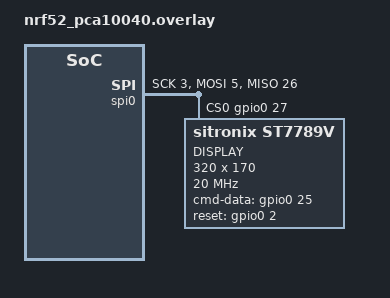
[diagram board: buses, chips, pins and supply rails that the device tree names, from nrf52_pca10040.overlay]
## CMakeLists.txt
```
# SPDX-License-Identifier: Apache-2.0

cmake_minimum_required(VERSION 3.13.1)
include($ENV{ZEPHYR_BASE}/cmake/app/boilerplate.cmake NO_POLICY_SCOPE)
project(st7789v)

target_sources(app PRIVATE src/main.c)
```

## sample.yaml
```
sample:
  description: Sample application for ST7789V display
  name: st7789v_sample
tests:
  sample.display.st7789v_tl019fqv01:
    build_only: true
    platform_whitelist: nrf52_pca10040
    extra_args: SHIELD=st7789v_tl019fqv01
    tags: display shield
  sample.display.st7789v_waveshare_240x240:
    build_only: true
    platform_whitelist: nrf52_pca10040
    extra_args: SHIELD=st7789v_waveshare_240x240
    tags: display shield
```

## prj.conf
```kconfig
CONFIG_PRINTK=y
CONFIG_HEAP_MEM_POOL_SIZE=16384
CONFIG_LOG=y
CONFIG_DISPLAY=y
CONFIG_DISPLAY_LOG_LEVEL_DBG=y
```

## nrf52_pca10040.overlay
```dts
/*
 * Copyright (c) 2019 Creative Product Design
 *
 * SPDX-License-Identifier: Apache-2.0
 */

&spi0 {
	status = "okay";
	sck-pin = <3>;
	mosi-pin = <5>;
	miso-pin = <26>;
	cs-gpios = <&gpio0 27 0>;

	st7789v@0 {
		compatible = "sitronix,st7789v";
		label = "DISPLAY";
		spi-max-frequency = <20000000>;
		reg = <0>;
		cmd-data-gpios = <&gpio0 25 0>;
		reset-gpios = <&gpio0 2 0>;
		width = <320>;
		height = <170>;
		y-offset = <35>;
	};
};
```

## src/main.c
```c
/*
 * Copyright (c) 2019 Marc Reilly
 *
 * SPDX-License-Identifier: Apache-2.0
 */
#include <logging/log.h>
LOG_MODULE_REGISTER(app, LOG_LEVEL_INF);

#include <zephyr.h>
#include <device.h>
#include <display.h>

static void backlight_init(void)
{
    /* If you have a backlight, set it up and turn it on here */
}

void main(void)
{
	LOG_INF("ST7789V display sample");
	struct device *display_dev;

	struct display_capabilities capabilities;
	struct display_buffer_descriptor buf_desc;

	backlight_init();

#ifdef CONFIG_ST7789V_RGB565
	const size_t rgb_size = 2;
#else
	const size_t rgb_size = 3;
#endif

	display_dev = device_get_binding(DT_INST_0_SITRONIX_ST7789V_LABEL);

	if (display_dev == NULL) {
		LOG_ERR("Device not found. Aborting test.");
		return;
	}

	display_get_capabilities(display_dev, &capabilities);

	/* size of the rectangle */
	const size_t w = 40;
	const size_t h = 20;
	const size_t buf_size = rgb_size * w * h;

	/* points are clockwise, from top left */
	size_t x0, y0, x1, y1, x2, y2, x3, y3;

	/* top left */
	x0 = 0;
	y0 = 0;
	/* top right */
	x1 = capabilities.x_resolution - w;
	y1 = 0;
	/* bottom right */
	x2 = capabilities.x_resolution - w;
	y2 = capabilities.y_resolution - h;
	/* bottom left */
	x3 = 0;
	y3 = capabilities.y_resolution - h;

	/* Allocate rectangular buffer for corner data */
	u8_t *buf = k_malloc(buf_size);

	if (buf == NULL) {
		LOG_ERR("Could not allocate memory. Aborting test.");
		return;
	}

	/* Clear frame buffer before enabling LCD, reuse corner buffer
	 */
	int h_step;
	(void)memset(buf, 0, buf_size);
	h_step = (w * h) / capabilities.x_resolution;

	buf_desc.buf_size = buf_size;
	buf_desc.pitch = capabilities.x_resolution;
	buf_desc.width = capabilities.x_resolution;
	buf_desc.height = h_step;

	for (int idx = 0; idx < capabilities.y_resolution; idx += h_step) {
		display_write(display_dev, 0, idx, &buf_desc,  buf);
	}

	display_blanking_off(display_dev);

	buf_desc.pitch = w;
	buf_desc.width = w;
	buf_desc.height = h;

	int grey_count = 0;
	size_t cnt = 0;

	while (1) {
		/* Update the color of the rectangle buffer and write the buffer
		 * to  one of the corners
		 */
#ifdef CONFIG_ST7789V_RGB565
		int color = cnt % 4;
		/* RGB565 format */
		u16_t color_r;
		u16_t color_g;
		u16_t color_b;
		u16_t color_rgb;

		color_r = (color == 0) ? 0xF800U : 0U;
		color_g = (color == 1) ? 0x07E0U : 0U;
		color_b = (color == 2) ? 0x001FU : 0U;
		color_rgb = color_r + color_g + color_b;
		if (color == 3) {
			u16_t t = grey_count & 0x1f;
			/* shift the green an extra bit, it has 6 bits */
			color_rgb = t << 11 | t << (5+1) | t;
			grey_count++;
		}

		for (size_t idx = 0; idx < buf_size; idx += rgb_size) {
			*(buf + idx + 0) = (color_rgb >> 8) & 0xFFU;
			*(buf + idx + 1) = (color_rgb >> 0) & 0xFFU;
		}
#else
		int color = cnt % 4;
		u32_t color_rgb;
		u32_t c = grey_count & 0xff;

		switch (cnt % 4) {
		case 0:
			color_rgb = 0x00FF0000u;
			break;
		case 1:
			color_rgb = 0x0000FF00u;
			break;
		case 2:
			color_rgb = 0x000000FFu;
			break;
		case 3:
			color_rgb = c << 16 | c << 8 | c;
			grey_count++;
			break;
		}

		/* RGB888 format */
		for (size_t idx = color; idx < buf_size; idx += rgb_size) {
			*(buf + idx + 0) = color_rgb >> 16;
			*(buf + idx + 1) = color_rgb >> 8;
			*(buf + idx + 2) = color_rgb >> 0;
		}
#endif

		switch (cnt % 4) {
		case 0:
			/* top left, red */
			display_write(display_dev, x0, y0, &buf_desc, buf);
			break;
		case 1:
			/* top right, green */
			display_write(display_dev, x1, y1, &buf_desc, buf);
			break;
		case 2:
			/* bottom right, blue */
			display_write(display_dev, x2, y2, &buf_desc, buf);
			break;
		case 3:
			/* bottom left, alternating grey */
			display_write(display_dev, x3, y3, &buf_desc, buf);
			break;
		}
		++cnt;
		k_sleep(K_MSEC(100));
	}
}
```
